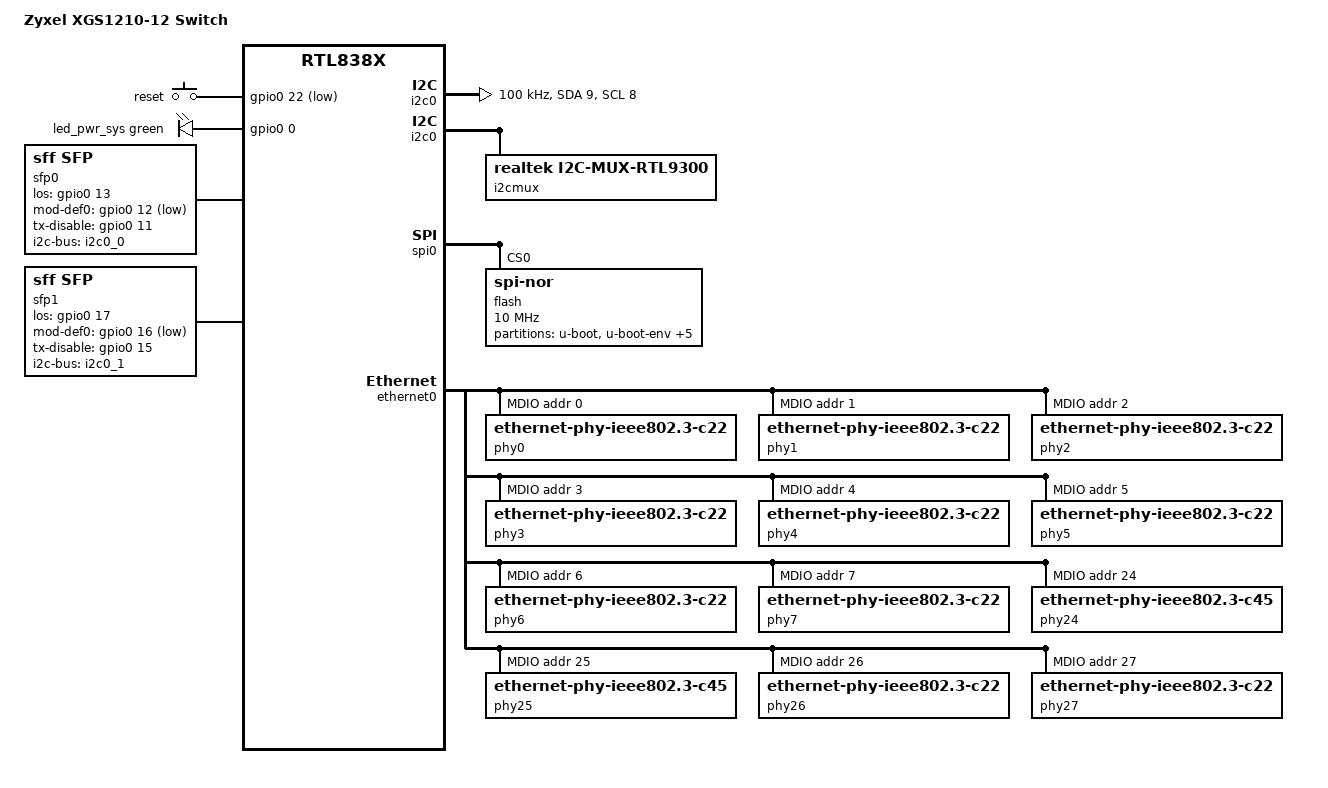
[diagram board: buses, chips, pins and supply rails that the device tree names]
// SPDX-License-Identifier: (GPL-2.0-or-later OR MIT)
/dts-v1/;

#include "rtl930x.dtsi"

#include <dt-bindings/input/input.h>
#include <dt-bindings/gpio/gpio.h>
#include <dt-bindings/leds/common.h>

/ {
	compatible = "zyxel,xgs1210-12", "realtek,rtl838x-soc";
	model = "Zyxel XGS1210-12 Switch";

	aliases {
		led-boot = &led_pwr_sys;
		led-failsafe = &led_pwr_sys;
		led-running = &led_pwr_sys;
		led-upgrade = &led_pwr_sys;
	};

	keys {
		compatible = "gpio-keys";

		mode {
			label = "reset";
			gpios = <&gpio0 22 GPIO_ACTIVE_LOW>;
			linux,code = <KEY_RESTART>;
		};
	};

	i2c0: i2c0 {
		reg = <0x1b00036c 0x3c>;
		compatible = "realtek,rtl9300-i2c", "realtek,rtl930x-i2c";
		#address-cells = <1>;
		#size-cells = <0>;
		sda-pin = <9>;
		scl-pin = <8>;
		clock-frequency = <100000>;
	};

	i2cmux {
		compatible = "realtek,i2c-mux-rtl9300", "realtek,i2c-mux-rtl930x";
		#address-cells = <1>;
		#size-cells = <0>;
		i2c-parent = <&i2c0>;

		/* i2c of the left SFP+ cage as seen from the front: port 11 */
		i2c0_0: i2c@0 {
			reg = <9>;
			#address-cells = <1>;
			#size-cells = <0>;
			sda-pin = <9>;
			scl-pin = <8>;
		};

		/* i2c of the right SFP+ cage as seen from the front: port 12 */
		i2c0_1: i2c@1 {
			reg = <10>;
			#address-cells = <1>;
			#size-cells = <0>;
			sda-pin = <10>;
			scl-pin = <8>;
		};
	};

        leds {
                compatible = "gpio-leds";

                pinctrl-names = "default";
                pinctrl-0 = <&pinmux_disable_sys_led>;

                led_pwr_sys: led-0 {
                        color = <LED_COLOR_ID_GREEN>;
                        function = LED_FUNCTION_POWER;
                        gpios = <&gpio0 0 GPIO_ACTIVE_HIGH>;
                };
        };


	led_set: led_set {
		compatible = "realtek,rtl9300-leds";
		active-low;

		led_set0 = <0x0a20 0x0b80>; // LED set 0: 1000Mbps,  10/100Mbps
		led_set1 = <0x0a0b 0x0a28 0x0a82 0x0a0b>; // LED set 1: (10G, 5G, 2.5G) (2.5G, 1G)
							  // (5G, 10/100) (10G, 5G, 2.5G)
		led_set2 = <0x0a20 0x0a01>; // LED set 2: 1000MBit, 10GBit
	};

	sfp0: sfp-p11 {
		compatible = "sff,sfp";
		i2c-bus = <&i2c0_0>;
		los-gpios = <&gpio0 13 GPIO_ACTIVE_HIGH>;
		mod-def0-gpios = <&gpio0 12 GPIO_ACTIVE_LOW>;
		tx-disable-gpios = <&gpio0 11 GPIO_ACTIVE_HIGH>;
	};

	sfp1: sfp-p12 {
		compatible = "sff,sfp";
		i2c-bus = <&i2c0_1>;
		los-gpios = <&gpio0 17 GPIO_ACTIVE_HIGH>;
		mod-def0-gpios = <&gpio0 16 GPIO_ACTIVE_LOW>;
		tx-disable-gpios = <&gpio0 15 GPIO_ACTIVE_HIGH>;
	};
};

&spi0 {
	status = "okay";
	flash@0 {
		compatible = "jedec,spi-nor";
		reg = <0>;
		spi-max-frequency = <10000000>;

		partitions {
			compatible = "fixed-partitions";
			#address-cells = <1>;
			#size-cells = <1>;

			partition@0 {
				label = "u-boot";
				reg = <0x0 0xe0000>;
				read-only;
			};
			partition@e0000 {
				label = "u-boot-env";
				reg = <0x0e0000 0x10000>;
			};
			partition@f0000 {
				label = "u-boot-env2";
				reg = <0x0f0000 0x10000>;
				read-only;
			};
			partition@100000 {
				label = "jffs";
				reg = <0x0100000 0x100000>;
			};
			partition@200000 {
				label = "jffs2";
				reg = <0x0200000 0x100000>;
			};
			partition@b300000 {
				label = "firmware";
				reg = <0x0300000 0xce0000>;
				compatible = "openwrt,uimage", "denx,uimage";
				openwrt,ih-magic = <0x93001210>;
			};
			partition@fe0000 {
				label = "log";
				reg = <0x0fe0000 0x20000>;
			};
		};
	};
};

&ethernet0 {
	mdio0: mdio-bus {
		compatible = "realtek,rtl9302-mdio", "realtek,rtl838x-mdio";
		regmap = <&ethernet0>;
		#address-cells = <1>;
		#size-cells = <0>;

		/* External RTL8218D PHY */
		phy0: ethernet-phy@0 {
			reg = <0>;
			compatible = "ethernet-phy-ieee802.3-c22";
			rtl9300,smi-address = <0 0>;
			sds = <2>;
			// Disabled because we do not know how to bring up again
			// reset-gpios = <&gpio0 21 GPIO_ACTIVE_LOW>;
		};
		phy1: ethernet-phy@1 {
			reg = <1>;
			compatible = "ethernet-phy-ieee802.3-c22";
			rtl9300,smi-address = <0 1>;
		};
		phy2: ethernet-phy@2 {
			reg = <2>;
			compatible = "ethernet-phy-ieee802.3-c22";
			rtl9300,smi-address = <0 2>;
		};
		phy3: ethernet-phy@3 {
			reg = <3>;
			compatible = "ethernet-phy-ieee802.3-c22";
			rtl9300,smi-address = <0 3>;
		};
		phy4: ethernet-phy@4 {
			reg = <4>;
			compatible = "ethernet-phy-ieee802.3-c22";
			rtl9300,smi-address = <0 4>;
		};
		phy5: ethernet-phy@5 {
			reg = <5>;
			compatible = "ethernet-phy-ieee802.3-c22";
			rtl9300,smi-address = <0 5>;
		};
		phy6: ethernet-phy@6 {
			reg = <6>;
			compatible = "ethernet-phy-ieee802.3-c22";
			rtl9300,smi-address = <0 6>;
		};
		phy7: ethernet-phy@7 {
			reg = <7>;
			compatible = "ethernet-phy-ieee802.3-c22";
			rtl9300,smi-address = <0 7>;
		};
		/* External single port 1Gbit/2.5Gbit  RTL8226 PHY */
		phy24: ethernet-phy@24 {
			reg = <24>;
			compatible = "ethernet-phy-ieee802.3-c45";
			rtl9300,smi-address = <1 8>;
			sds = <6>;
		};

		phy25: ethernet-phy@25 {
			reg = <25>;
			compatible = "ethernet-phy-ieee802.3-c45";
			rtl9300,smi-address = <2 9>;
			sds = <7>;
		};

		/* SFP+ Ports */
		phy26: ethernet-phy@26 {
			reg = <26>;
			compatible = "ethernet-phy-ieee802.3-c22";
			phy-is-integrated;
			sds = <8>;
		};

		phy27: ethernet-phy@27 {
			reg = <27>;
			compatible = "ethernet-phy-ieee802.3-c22";
			phy-is-integrated;
			sds = <9>;
		};		
	};
};

&switch0 {
	switch0_ports: ports {
		#address-cells = <1>;
		#size-cells = <0>;

		port@0 {
			reg = <0>;
			label = "lan1";
			phy-handle = <&phy0>;
			phy-mode = "xgmii";
			led-set = <0>;
		};
		port@1 {
			reg = <1>;
			label = "lan2";
			phy-handle = <&phy1>;
			phy-mode = "xgmii";
			led-set = <0>;
		};
		port@2 {
			reg = <2>;
			label = "lan3";
			phy-handle = <&phy2>;
			phy-mode = "xgmii";
			led-set = <0>;
		};
		port@3 {
			reg = <3>;
			label = "lan4";
			phy-handle = <&phy3>;
			phy-mode = "xgmii";
			led-set = <0>;
		};
		port@4 {
			reg = <4>;
			label = "lan5";
			phy-handle = <&phy4>;
			phy-mode = "xgmii";
			led-set = <0>;
		};
		port@5 {
			reg = <5>;
			label = "lan6";
			phy-handle = <&phy5>;
			phy-mode = "xgmii";
			led-set = <0>;
		};
		port@6 {
			reg = <6>;
			label = "lan7";
			phy-handle = <&phy6>;
			phy-mode = "xgmii";
			led-set = <0>;
		};
		port@7 {
			reg = <7>;
			label = "lan8";
			phy-handle = <&phy7>;
			phy-mode = "xgmii";
			led-set = <0>;
		};

		port@24 {
			reg = <24>;
			label = "lan9";
			phy-mode = "hsgmii";
			phy-handle = <&phy24>;
			led-set = <1>;
		};
		port@25 {
			reg = <25>;
			label = "lan10";
			phy-mode = "hsgmii";
			phy-handle = <&phy25>;
			led-set = <1>;
		};
		port@26 {
			reg = <26>;
			label = "lan11";
			phy-mode = "10gbase-r";
			pseudo-phy-handle = <&phy26>;
			sfp = <&sfp0>;
			led-set = <2>;
                        max-frame-size = <10000>;
			managed = "in-band-status";
		};

		port@27 {
			reg = <27>;
			label = "lan12";
			phy-mode = "10gbase-r";
			pseudo-phy-handle = <&phy27>;
			sfp = <&sfp1>;
			led-set = <2>;
                        max-frame-size = <10000>;
			managed = "in-band-status";
		};

		port@28 {
			ethernet = <&ethernet0>;
			reg = <28>;
			phy-mode = "internal";
			fixed-link {
				speed = <10000>;
				full-duplex;
			};
		};
	};
};
